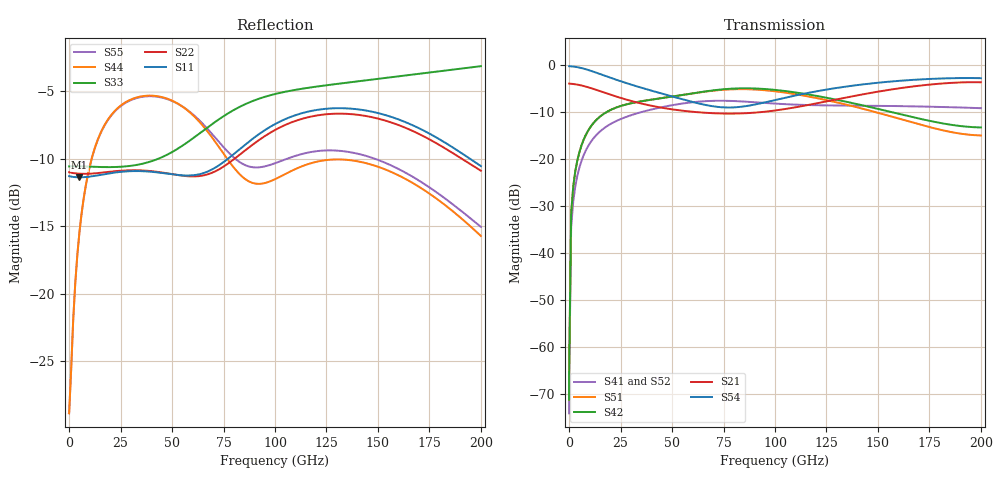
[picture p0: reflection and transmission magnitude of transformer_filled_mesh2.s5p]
! Created with skrf 2.1.0 (http://scikit-rf.org).
# GHz S DB R 50.0
! Port[1] = P1
! Port[2] = P2
! Port[3] = P3
! Port[4] = P4
! Port[5] = P5
!freq dBS11 angS11 dBS12 angS12 dBS13 angS13
! dBS14 angS14 dBS15 angS15
! dBS21 angS21 dBS22 angS22 dBS23 angS23
! dBS24 angS24 dBS25 angS25
! dBS31 angS31 dBS32 angS32 dBS33 angS33
! dBS34 angS34 dBS35 angS35
! dBS41 angS41 dBS42 angS42 dBS43 angS43
! dBS44 angS44 dBS45 angS45
! dBS51 angS51 dBS52 angS52 dBS53 angS53
! dBS54 angS54 dBS55 angS55
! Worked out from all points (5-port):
!   202 points, 10 MHz to 200 GHz, reference 50 ohm
!   strongest paths, dB at 10 MHz, 49 GHz, 100 GHz, 150 GHz, 200 GHz:
!     S54: -0.3, -6.6, -7.5, -3.8, -2.9
!     S21: -4.0, -9.4, -9.7, -5.7, -3.7
!     S42: -71.3, -6.9, -5.4, -9.4, -13.3
!     S51: -71.3, -6.8, -5.7, -10.2, -15.1
!     S41: -74.1, -8.7, -8.3, -8.8, -9.3
!     S52: -74.1, -8.7, -8.3, -8.9, -9.5
!   lowest |S11| = -11.4 dB at 5 GHz (marker M1), VSWR 1.74, Z = 30.1 + j8.68 ohm
!   |S11| at or under -10 dB: start of sweep to 77.26 GHz; 194.6 GHz to end of sweep
